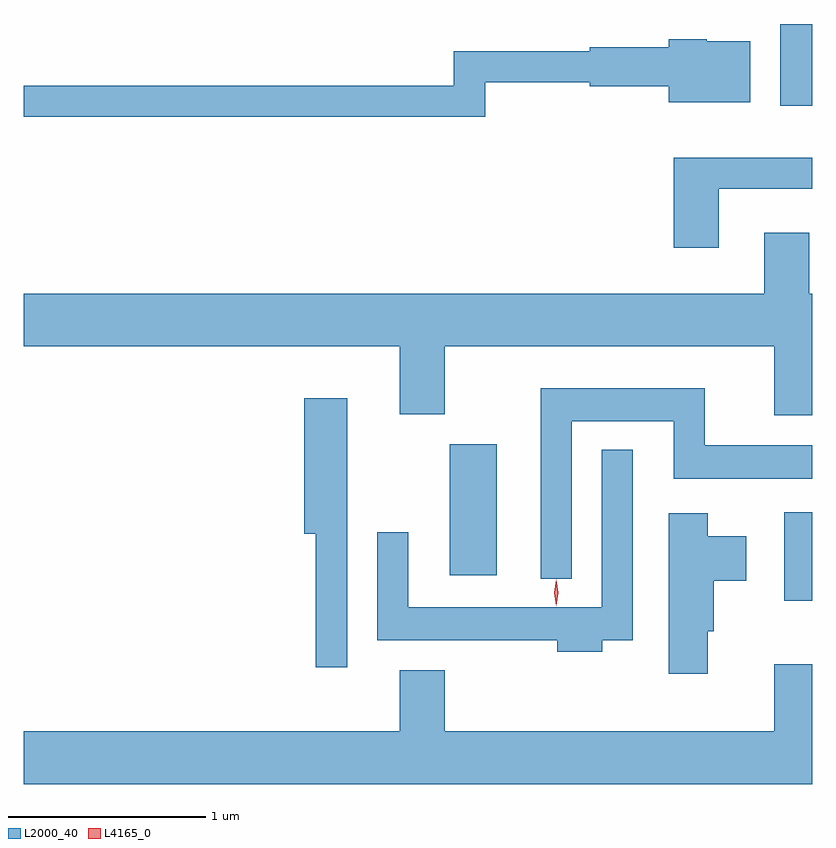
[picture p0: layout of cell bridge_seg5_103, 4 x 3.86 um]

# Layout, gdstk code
import gdstk
lib = gdstk.Library(unit=1e-6, precision=1e-09)
def R(c, l, rs):  # rectangles x0, y0, x1, y1
    for r in rs: c.add(gdstk.rectangle(r[:2], r[2:], *l))
def P(c, l, *ps):  # polygons
    for p in ps: c.add(gdstk.Polygon(p, *l))
L2000_40 = (2000, 40)
L4165_0 = (4165, 0)

bridge_seg5_103 = lib.new_cell('bridge_seg5_103')
R(bridge_seg5_103, L2000_40, [(1166.411,1508.786,1166.554,1509.234), (1164.716,1508.916,1164.954,1509.579), (1166.391,1511.296,1166.554,1511.712)])
P(bridge_seg5_103, L2000_40, [(1164.894,1511.416),(1165.426,1511.416),(1165.426,1511.396),(1165.826,1511.396),(1165.826,1511.316),(1166.239,1511.316),(1166.239,1511.624),(1166.02,1511.624),(1166.02,1511.634),(1165.826,1511.634),(1165.826,1511.594),(1165.426,1511.594),(1165.426,1511.574),(1164.736,1511.574),(1164.736,1511.399),(1162.554,1511.399),(1162.554,1511.241),(1164.894,1511.241)],
  [(1166.079,1510.876),(1166.554,1510.876),(1166.554,1511.034),(1165.851,1511.034),(1165.851,1510.576),(1166.079,1510.576)],
  [(1166.554,1510.344),(1166.539,1510.344),(1166.539,1510.654),(1166.311,1510.654),(1166.311,1510.344),(1162.554,1510.344),(1162.554,1510.076),(1164.461,1510.076),(1164.461,1509.731),(1164.689,1509.731),(1164.689,1510.076),(1166.361,1510.076),(1166.361,1509.726),(1166.554,1509.726)],
  [(1165.334,1509.696),(1165.851,1509.696),(1165.851,1509.406),(1166.554,1509.406),(1166.554,1509.574),(1166.009,1509.574),(1166.009,1509.864),(1165.176,1509.864),(1165.176,1508.898),(1165.334,1508.898)],
  [(1164.194,1509.814),(1163.976,1509.814),(1163.976,1509.126),(1164.036,1509.126),(1164.036,1508.448),(1164.194,1508.448)],
  [(1165.489,1508.586),(1165.644,1508.586),(1165.644,1509.553),(1165.486,1509.553),(1165.486,1508.754),(1164.504,1508.754),(1164.504,1509.133),(1164.346,1509.133),(1164.346,1508.586),(1165.261,1508.586),(1165.261,1508.526),(1165.489,1508.526)],
  [(1166.024,1508.631),(1166.054,1508.631),(1166.054,1508.886),(1166.219,1508.886),(1166.219,1509.114),(1166.024,1509.114),(1166.024,1509.229),(1165.826,1509.229),(1165.826,1508.416),(1166.024,1508.416)],
  [(1166.554,1508.464),(1166.361,1508.464),(1166.361,1508.124),(1164.689,1508.124),(1164.689,1508.434),(1164.461,1508.434),(1164.461,1508.124),(1162.554,1508.124),(1162.554,1507.856),(1166.554,1507.856)])
P(bridge_seg5_103, L4165_0, [(1165.255,1508.76),(1165.245,1508.826),(1165.255,1508.892),(1165.255,1508.893),(1165.256,1508.892),(1165.265,1508.826),(1165.256,1508.76),(1165.256,1508.76)])

lib.write_gds('bridge_seg5_103.gds')
